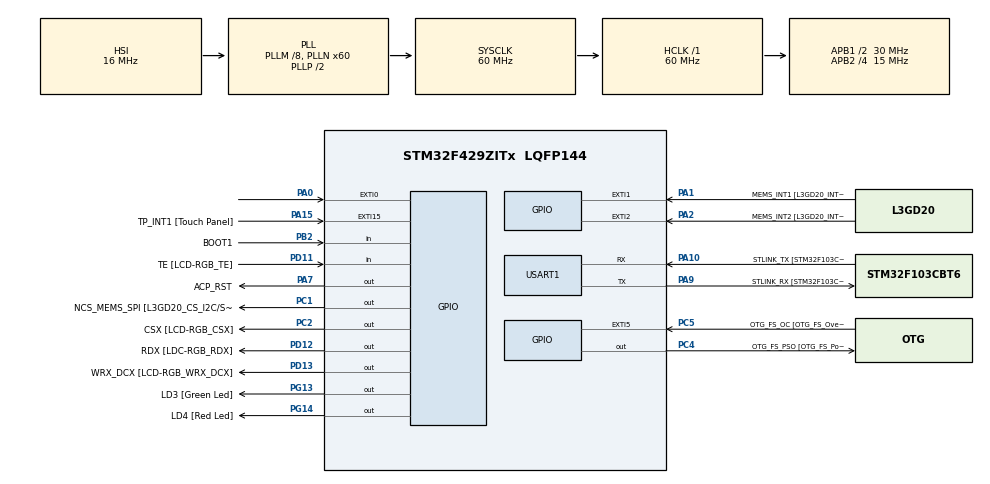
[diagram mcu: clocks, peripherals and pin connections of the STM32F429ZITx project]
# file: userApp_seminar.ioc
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Mcu.Family=STM32F4
Mcu.Name=STM32F429ZITx
Mcu.Package=LQFP144
NVIC.EXTI0_IRQn=true\:0\:0\:false\:false\:true\:true\:true
NVIC.PriorityGroup=NVIC_PRIORITYGROUP_0
PA0/WKUP.Signal=GPXTI0
PA1.GPIO_Label=MEMS_INT1 [L3GD20_INT1]
PA1.GPIO_ModeDefaultEXTI=GPIO_MODE_EVT_RISING
PA1.GPIO_PuPd=GPIO_NOPULL
PA1.Signal=GPXTI1
PA10.GPIO_Label=STLINK_TX [STM32F103CBT6_PA2]
PA10.Mode=Asynchronous
PA10.Signal=USART1_RX
PA11.GPIO_Label=R4
PA11.GPIO_Mode=GPIO_MODE_AF_PP
PA11.GPIO_PuPd=GPIO_NOPULL
PA11.GPIO_Speed=GPIO_SPEED_FREQ_LOW
PA11.Signal=LTDC_R4
PA12.GPIO_Label=R5
PA12.GPIO_Mode=GPIO_MODE_AF_PP
PA12.GPIO_PuPd=GPIO_NOPULL
PA12.GPIO_Speed=GPIO_SPEED_FREQ_LOW
PA12.Signal=LTDC_R5
PA13.GPIO_Label=SWDIO
PA13.Signal=SYS_JTMS-SWDIO
PA14.GPIO_Label=SWCLK
PA14.Signal=SYS_JTCK-SWCLK
PA15.GPIO_Label=TP_INT1 [Touch Panel]
PA15.GPIO_ModeDefaultEXTI=GPIO_MODE_EVT_RISING
PA15.GPIO_PuPd=GPIO_NOPULL
PA15.Signal=GPXTI15
PA2.GPIO_Label=MEMS_INT2 [L3GD20_INT2]
PA2.GPIO_ModeDefaultEXTI=GPIO_MODE_EVT_RISING
PA2.GPIO_PuPd=GPIO_NOPULL
PA2.Signal=GPXTI2
PA3.GPIO_Label=B5
PA3.GPIO_Mode=GPIO_MODE_AF_PP
PA3.GPIO_PuPd=GPIO_NOPULL
PA3.GPIO_Speed=GPIO_SPEED_FREQ_LOW
PA3.Signal=LTDC_B5
PA4.GPIO_Label=VSYNC
PA4.GPIO_Mode=GPIO_MODE_AF_PP
PA4.GPIO_PuPd=GPIO_NOPULL
PA4.GPIO_Speed=GPIO_SPEED_FREQ_LOW
PA4.Signal=LTDC_VSYNC
PA6.GPIO_Label=G2
PA6.GPIO_Mode=GPIO_MODE_AF_PP
PA6.GPIO_PuPd=GPIO_NOPULL
PA6.GPIO_Speed=GPIO_SPEED_FREQ_LOW
PA6.Signal=LTDC_G2
PA7.GPIO_Label=ACP_RST
PA7.GPIO_Mode=GPIO_MODE_OUTPUT_PP
PA7.GPIO_PuPd=GPIO_NOPULL
PA7.GPIO_Speed=GPIO_SPEED_FREQ_LOW
PA7.Signal=GPIO_Output
PA8.GPIO_Label=I2C3_SCL [ACP/RF_SCL]
PA8.GPIO_Mode=GPIO_MODE_AF_OD
PA8.GPIO_PuPd=GPIO_NOPULL
PA8.GPIO_Speed=GPIO_SPEED_FREQ_LOW
PA8.Signal=I2C3_SCL
PA9.GPIO_Label=STLINK_RX [STM32F103CBT6_PA3]
PA9.Mode=Asynchronous
PA9.Signal=USART1_TX
PB0.GPIO_Label=R3
PB0.GPIO_Mode=GPIO_MODE_AF_PP
PB0.GPIO_PuPd=GPIO_NOPULL
PB0.GPIO_Speed=GPIO_SPEED_FREQ_LOW
PB0.Signal=LTDC_R3
PB1.GPIO_Label=R6
PB1.GPIO_Mode=GPIO_MODE_AF_PP
PB1.GPIO_PuPd=GPIO_NOPULL
PB1.GPIO_Speed=GPIO_SPEED_FREQ_LOW
PB1.Signal=LTDC_R6
PB10.GPIO_Label=G4
PB10.GPIO_Mode=GPIO_MODE_AF_PP
PB10.GPIO_PuPd=GPIO_NOPULL
PB10.GPIO_Speed=GPIO_SPEED_FREQ_LOW
PB10.Signal=LTDC_G4
PB11.GPIO_Label=G5
PB11.GPIO_Mode=GPIO_MODE_AF_PP
PB11.GPIO_PuPd=GPIO_NOPULL
PB11.GPIO_Speed=GPIO_SPEED_FREQ_LOW
PB11.Signal=LTDC_G5
PB12.GPIO_Label=OTG_HS_ID
PB12.GPIO_Mode=GPIO_MODE_AF_PP
PB12.GPIO_PuPd=GPIO_NOPULL
PB12.GPIO_Speed=GPIO_SPEED_FREQ_LOW
PB12.Signal=USB_OTG_HS_ID
PB13.GPIO_Label=VBUS_HS
PB13.GPIO_Mode=GPIO_MODE_INPUT
PB13.GPIO_PuPd=GPIO_NOPULL
PB13.Signal=USB_OTG_HS_VBUS
PB14.GPIO_Label=OTG_HS_DM
PB14.GPIO_Mode=GPIO_MODE_AF_PP
PB14.GPIO_PuPd=GPIO_NOPULL
PB14.GPIO_Speed=GPIO_SPEED_FREQ_LOW
PB14.Signal=USB_OTG_HS_DM
PB15.GPIO_Label=OTG_HS_DP
PB15.GPIO_Mode=GPIO_MODE_AF_PP
PB15.GPIO_PuPd=GPIO_NOPULL
PB15.GPIO_Speed=GPIO_SPEED_FREQ_LOW
PB15.Signal=USB_OTG_HS_DP
PB2/BOOT1.GPIO_Label=BOOT1
PB2/BOOT1.GPIO_Mode=GPIO_MODE_INPUT
PB2/BOOT1.GPIO_PuPd=GPIO_NOPULL
PB2/BOOT1.Signal=GPIO_Input
PB5.GPIO_Label=SDCKE1
PB5.GPIO_Mode=GPIO_MODE_AF_PP
PB5.GPIO_PuPd=GPIO_NOPULL
PB5.GPIO_Speed=GPIO_SPEED_FREQ_VERY_HIGH
PB5.Signal=FMC_SDCKE1
PB6.GPIO_Label=SDNE1 [SDRAM_CS]
PB6.GPIO_Mode=GPIO_MODE_AF_PP
PB6.GPIO_PuPd=GPIO_NOPULL
PB6.GPIO_Speed=GPIO_SPEED_FREQ_VERY_HIGH
PB6.Signal=FMC_SDNE1
PB8.GPIO_Label=B6
PB8.GPIO_Mode=GPIO_MODE_AF_PP
PB8.GPIO_PuPd=GPIO_NOPULL
PB8.GPIO_Speed=GPIO_SPEED_FREQ_LOW
PB8.Signal=LTDC_B6
PB9.GPIO_Label=B7
PB9.GPIO_Mode=GPIO_MODE_AF_PP
PB9.GPIO_PuPd=GPIO_NOPULL
PB9.GPIO_Speed=GPIO_SPEED_FREQ_LOW
PB9.Signal=LTDC_B7
PC0.GPIO_Label=SDNWE
PC0.GPIO_Mode=GPIO_MODE_AF_PP
PC0.GPIO_PuPd=GPIO_NOPULL
PC0.GPIO_Speed=GPIO_SPEED_FREQ_VERY_HIGH
PC0.Signal=FMC_SDNWE
PC1.GPIO_Label=NCS_MEMS_SPI [L3GD20_CS_I2C/SPI]
PC1.GPIO_Mode=GPIO_MODE_OUTPUT_PP
PC1.GPIO_PuPd=GPIO_NOPULL
PC1.GPIO_Speed=GPIO_SPEED_FREQ_LOW
PC1.Signal=GPIO_Output
PC10.GPIO_Label=R2
PC10.GPIO_Mode=GPIO_MODE_AF_PP
PC10.GPIO_PuPd=GPIO_NOPULL
PC10.GPIO_Speed=GPIO_SPEED_FREQ_LOW
PC10.Signal=LTDC_R2
PC14/OSC32_IN.GPIO_Label=PC14-OSC32_IN
PC14/OSC32_IN.Signal=RCC_OSC32_IN
PC15/OSC32_OUT.GPIO_Label=PC15-OSC32_OUT
PC15/OSC32_OUT.Signal=RCC_OSC32_OUT
PC2.GPIO_Label=CSX [LCD-RGB_CSX]
PC2.GPIO_Mode=GPIO_MODE_OUTPUT_PP
PC2.GPIO_PuPd=GPIO_NOPULL
PC2.GPIO_Speed=GPIO_SPEED_FREQ_LOW
PC2.Signal=GPIO_Output
PC4.GPIO_Label=OTG_FS_PSO [OTG_FS_PowerSwitchOn]
PC4.GPIO_Mode=GPIO_MODE_OUTPUT_PP
PC4.GPIO_PuPd=GPIO_NOPULL
PC4.GPIO_Speed=GPIO_SPEED_FREQ_LOW
PC4.Signal=GPIO_Output
PC5.GPIO_Label=OTG_FS_OC [OTG_FS_OverCurrent]
PC5.GPIO_ModeDefaultEXTI=GPIO_MODE_EVT_RISING
PC5.Signal=GPXTI5
PC6.GPIO_Label=HSYNC
PC6.GPIO_Mode=GPIO_MODE_AF_PP
PC6.GPIO_PuPd=GPIO_NOPULL
PC6.GPIO_Speed=GPIO_SPEED_FREQ_LOW
PC6.Signal=LTDC_HSYNC
PC7.GPIO_Label=G6
PC7.GPIO_Mode=GPIO_MODE_AF_PP
PC7.GPIO_PuPd=GPIO_NOPULL
PC7.GPIO_Speed=GPIO_SPEED_FREQ_LOW
PC7.Signal=LTDC_G6
PC9.GPIO_Label=I2C3_SDA [ACP/RF_SDA]
PC9.GPIO_Mode=GPIO_MODE_AF_OD
PC9.GPIO_PuPd=GPIO_NOPULL
PC9.GPIO_Speed=GPIO_SPEED_FREQ_LOW
PC9.Signal=I2C3_SDA
PD0.GPIO_Label=D2
PD0.GPIO_Mode=GPIO_MODE_AF_PP
PD0.GPIO_PuPd=GPIO_NOPULL
PD0.GPIO_Speed=GPIO_SPEED_FREQ_VERY_HIGH
PD0.Signal=FMC_D2_DA2
PD1.GPIO_Label=D3
PD1.GPIO_Mode=GPIO_MODE_AF_PP
PD1.GPIO_PuPd=GPIO_NOPULL
PD1.GPIO_Speed=GPIO_SPEED_FREQ_VERY_HIGH
PD1.Signal=FMC_D3_DA3
PD10.GPIO_Label=D15
PD10.GPIO_Mode=GPIO_MODE_AF_PP
PD10.GPIO_PuPd=GPIO_NOPULL
PD10.GPIO_Speed=GPIO_SPEED_FREQ_VERY_HIGH
PD10.Signal=FMC_D15_DA15
PD11.GPIO_Label=TE [LCD-RGB_TE]
PD11.GPIO_Mode=GPIO_MODE_INPUT
PD11.GPIO_PuPd=GPIO_NOPULL
PD11.Signal=GPIO_Input
PD12.GPIO_Label=RDX [LDC-RGB_RDX]
PD12.GPIO_Mode=GPIO_MODE_OUTPUT_PP
PD12.GPIO_PuPd=GPIO_NOPULL
PD12.GPIO_Speed=GPIO_SPEED_FREQ_LOW
PD12.Signal=GPIO_Output
PD13.GPIO_Label=WRX_DCX [LCD-RGB_WRX_DCX]
PD13.GPIO_Mode=GPIO_MODE_OUTPUT_PP
PD13.GPIO_PuPd=GPIO_NOPULL
PD13.GPIO_Speed=GPIO_SPEED_FREQ_LOW
PD13.Signal=GPIO_Output
PD14.GPIO_Label=D0
PD14.GPIO_Mode=GPIO_MODE_AF_PP
PD14.GPIO_PuPd=GPIO_NOPULL
PD14.GPIO_Speed=GPIO_SPEED_FREQ_VERY_HIGH
PD14.Signal=FMC_D0_DA0
PD15.GPIO_Label=D1
PD15.GPIO_Mode=GPIO_MODE_AF_PP
PD15.GPIO_PuPd=GPIO_NOPULL
PD15.GPIO_Speed=GPIO_SPEED_FREQ_VERY_HIGH
PD15.Signal=FMC_D1_DA1
PD3.GPIO_Label=G7
PD3.GPIO_Mode=GPIO_MODE_AF_PP
PD3.GPIO_PuPd=GPIO_NOPULL
PD3.GPIO_Speed=GPIO_SPEED_FREQ_LOW
PD3.Signal=LTDC_G7
PD6.GPIO_Label=B2
PD6.GPIO_Mode=GPIO_MODE_AF_PP
PD6.GPIO_PuPd=GPIO_NOPULL
PD6.GPIO_Speed=GPIO_SPEED_FREQ_LOW
PD6.Signal=LTDC_B2
PD8.GPIO_Label=D13
PD8.GPIO_Mode=GPIO_MODE_AF_PP
PD8.GPIO_PuPd=GPIO_NOPULL
PD8.GPIO_Speed=GPIO_SPEED_FREQ_VERY_HIGH
PD8.Signal=FMC_D13_DA13
PD9.GPIO_Label=D14
PD9.GPIO_Mode=GPIO_MODE_AF_PP
PD9.GPIO_PuPd=GPIO_NOPULL
PD9.GPIO_Speed=GPIO_SPEED_FREQ_VERY_HIGH
PD9.Signal=FMC_D14_DA14
PE0.GPIO_Label=NBL0 [SDRAM_LDQM]
PE0.GPIO_Mode=GPIO_MODE_AF_PP
PE0.GPIO_PuPd=GPIO_NOPULL
PE0.GPIO_Speed=GPIO_SPEED_FREQ_VERY_HIGH
PE0.Signal=FMC_NBL0
PE1.GPIO_Label=NBL1 [SDRAM_UDQM]
PE1.GPIO_Mode=GPIO_MODE_AF_PP
PE1.GPIO_PuPd=GPIO_NOPULL
PE1.GPIO_Speed=GPIO_SPEED_FREQ_VERY_HIGH
PE1.Signal=FMC_NBL1
PE10.GPIO_Label=D7
PE10.GPIO_Mode=GPIO_MODE_AF_PP
PE10.GPIO_PuPd=GPIO_NOPULL
PE10.GPIO_Speed=GPIO_SPEED_FREQ_VERY_HIGH
PE10.Signal=FMC_D7_DA7
PE11.GPIO_Label=D8
PE11.GPIO_Mode=GPIO_MODE_AF_PP
PE11.GPIO_PuPd=GPIO_NOPULL
PE11.GPIO_Speed=GPIO_SPEED_FREQ_VERY_HIGH
PE11.Signal=FMC_D8_DA8
PE12.GPIO_Label=D9
PE12.GPIO_Mode=GPIO_MODE_AF_PP
PE12.GPIO_PuPd=GPIO_NOPULL
PE12.GPIO_Speed=GPIO_SPEED_FREQ_VERY_HIGH
PE12.Signal=FMC_D9_DA9
PE13.GPIO_Label=D10
PE13.GPIO_Mode=GPIO_MODE_AF_PP
PE13.GPIO_PuPd=GPIO_NOPULL
PE13.GPIO_Speed=GPIO_SPEED_FREQ_VERY_HIGH
PE13.Signal=FMC_D10_DA10
PE14.GPIO_Label=D11
PE14.GPIO_Mode=GPIO_MODE_AF_PP
PE14.GPIO_PuPd=GPIO_NOPULL
PE14.GPIO_Speed=GPIO_SPEED_FREQ_VERY_HIGH
PE14.Signal=FMC_D11_DA11
PE15.GPIO_Label=D12
PE15.GPIO_Mode=GPIO_MODE_AF_PP
PE15.GPIO_PuPd=GPIO_NOPULL
PE15.GPIO_Speed=GPIO_SPEED_FREQ_VERY_HIGH
PE15.Signal=FMC_D12_DA12
PE7.GPIO_Label=D4
PE7.GPIO_Mode=GPIO_MODE_AF_PP
PE7.GPIO_PuPd=GPIO_NOPULL
PE7.GPIO_Speed=GPIO_SPEED_FREQ_VERY_HIGH
PE7.Signal=FMC_D4_DA4
PE8.GPIO_Label=D5
PE8.GPIO_Mode=GPIO_MODE_AF_PP
PE8.GPIO_PuPd=GPIO_NOPULL
PE8.GPIO_Speed=GPIO_SPEED_FREQ_VERY_HIGH
PE8.Signal=FMC_D5_DA5
PE9.GPIO_Label=D6
PE9.GPIO_Mode=GPIO_MODE_AF_PP
PE9.GPIO_PuPd=GPIO_NOPULL
PE9.GPIO_Speed=GPIO_SPEED_FREQ_VERY_HIGH
PE9.Signal=FMC_D6_DA6
PF0.GPIO_Label=A0
PF0.GPIO_Mode=GPIO_MODE_AF_PP
PF0.GPIO_PuPd=GPIO_NOPULL
PF0.GPIO_Speed=GPIO_SPEED_FREQ_VERY_HIGH
PF0.Signal=FMC_A0
PF1.GPIO_Label=A1
PF1.GPIO_Mode=GPIO_MODE_AF_PP
PF1.GPIO_PuPd=GPIO_NOPULL
PF1.GPIO_Speed=GPIO_SPEED_FREQ_VERY_HIGH
PF1.Signal=FMC_A1
PF10.GPIO_Label=ENABLE [LCD-RGB_ENABLE]
PF10.GPIO_Mode=GPIO_MODE_AF_PP
PF10.GPIO_PuPd=GPIO_NOPULL
PF10.GPIO_Speed=GPIO_SPEED_FREQ_LOW
PF10.Signal=LTDC_DE
PF11.GPIO_Label=SDNRAS
PF11.GPIO_Mode=GPIO_MODE_AF_PP
PF11.GPIO_PuPd=GPIO_NOPULL
PF11.GPIO_Speed=GPIO_SPEED_FREQ_VERY_HIGH
PF11.Signal=FMC_SDNRAS
PF12.GPIO_Label=A6
PF12.GPIO_Mode=GPIO_MODE_AF_PP
PF12.GPIO_PuPd=GPIO_NOPULL
PF12.GPIO_Speed=GPIO_SPEED_FREQ_VERY_HIGH
PF12.Signal=FMC_A6
PF13.GPIO_Label=A7
PF13.GPIO_Mode=GPIO_MODE_AF_PP
PF13.GPIO_PuPd=GPIO_NOPULL
PF13.GPIO_Speed=GPIO_SPEED_FREQ_VERY_HIGH
PF13.Signal=FMC_A7
PF14.GPIO_Label=A8
PF14.GPIO_Mode=GPIO_MODE_AF_PP
PF14.GPIO_PuPd=GPIO_NOPULL
PF14.GPIO_Speed=GPIO_SPEED_FREQ_VERY_HIGH
PF14.Signal=FMC_A8
PF15.GPIO_Label=A9
PF15.GPIO_Mode=GPIO_MODE_AF_PP
PF15.GPIO_PuPd=GPIO_NOPULL
PF15.GPIO_Speed=GPIO_SPEED_FREQ_VERY_HIGH
PF15.Signal=FMC_A9
PF2.GPIO_Label=A2
PF2.GPIO_Mode=GPIO_MODE_AF_PP
PF2.GPIO_PuPd=GPIO_NOPULL
PF2.GPIO_Speed=GPIO_SPEED_FREQ_VERY_HIGH
PF2.Signal=FMC_A2
PF3.GPIO_Label=A3
PF3.GPIO_Mode=GPIO_MODE_AF_PP
PF3.GPIO_PuPd=GPIO_NOPULL
PF3.GPIO_Speed=GPIO_SPEED_FREQ_VERY_HIGH
PF3.Signal=FMC_A3
PF4.GPIO_Label=A4
PF4.GPIO_Mode=GPIO_MODE_AF_PP
PF4.GPIO_PuPd=GPIO_NOPULL
PF4.GPIO_Speed=GPIO_SPEED_FREQ_VERY_HIGH
PF4.Signal=FMC_A4
PF5.GPIO_Label=A5
PF5.GPIO_Mode=GPIO_MODE_AF_PP
PF5.GPIO_PuPd=GPIO_NOPULL
PF5.GPIO_Speed=GPIO_SPEED_FREQ_VERY_HIGH
PF5.Signal=FMC_A5
PF7.GPIO_Label=SPI5_SCK [L3GD20_SCL/SPC]
PF7.GPIO_Mode=GPIO_MODE_AF_PP
PF7.GPIO_PuPd=GPIO_NOPULL
PF7.GPIO_Speed=GPIO_SPEED_FREQ_LOW
PF7.Signal=SPI5_SCK
PF8.GPIO_Label=SPI5_MISO [L3GD20_SDO]
PF8.GPIO_Mode=GPIO_MODE_AF_PP
PF8.GPIO_PuPd=GPIO_NOPULL
PF8.GPIO_Speed=GPIO_SPEED_FREQ_LOW
PF8.Signal=SPI5_MISO
PF9.GPIO_Label=SPI5_MOSI [L3GD20_SDA/SDI/SDO]
PF9.GPIO_Mode=GPIO_MODE_AF_PP
PF9.GPIO_PuPd=GPIO_NOPULL
PF9.GPIO_Speed=GPIO_SPEED_FREQ_LOW
PF9.Signal=SPI5_MOSI
PG0.GPIO_Label=A10
PG0.GPIO_Mode=GPIO_MODE_AF_PP
PG0.GPIO_PuPd=GPIO_NOPULL
PG0.GPIO_Speed=GPIO_SPEED_FREQ_VERY_HIGH
PG0.Signal=FMC_A10
PG1.GPIO_Label=A11
PG1.GPIO_Mode=GPIO_MODE_AF_PP
PG1.GPIO_PuPd=GPIO_NOPULL
PG1.GPIO_Speed=GPIO_SPEED_FREQ_VERY_HIGH
PG1.Signal=FMC_A11
PG10.GPIO_Label=G3
PG10.GPIO_Mode=GPIO_MODE_AF_PP
PG10.GPIO_PuPd=GPIO_NOPULL
PG10.GPIO_Speed=GPIO_SPEED_FREQ_LOW
PG10.Signal=LTDC_G3
PG11.GPIO_Label=B3
PG11.GPIO_Mode=GPIO_MODE_AF_PP
PG11.GPIO_PuPd=GPIO_NOPULL
PG11.GPIO_Speed=GPIO_SPEED_FREQ_LOW
PG11.Signal=LTDC_B3
PG12.GPIO_Label=B4
PG12.GPIO_Mode=GPIO_MODE_AF_PP
PG12.GPIO_PuPd=GPIO_NOPULL
PG12.GPIO_Speed=GPIO_SPEED_FREQ_LOW
PG12.Signal=LTDC_B4
PG13.GPIO_Label=LD3 [Green Led]
PG13.GPIO_Mode=GPIO_MODE_OUTPUT_PP
PG13.GPIO_PuPd=GPIO_NOPULL
PG13.GPIO_Speed=GPIO_SPEED_FREQ_LOW
PG13.Signal=GPIO_Output
PG14.GPIO_Label=LD4 [Red Led]
PG14.GPIO_Mode=GPIO_MODE_OUTPUT_PP
PG14.GPIO_PuPd=GPIO_NOPULL
PG14.GPIO_Speed=GPIO_SPEED_FREQ_LOW
PG14.Signal=GPIO_Output
PG15.GPIO_Label=SDNCAS
PG15.GPIO_Mode=GPIO_MODE_AF_PP
PG15.GPIO_PuPd=GPIO_NOPULL
PG15.GPIO_Speed=GPIO_SPEED_FREQ_VERY_HIGH
PG15.Signal=FMC_SDNCAS
PG4.GPIO_Label=BA0
PG4.GPIO_Mode=GPIO_MODE_AF_PP
PG4.GPIO_PuPd=GPIO_NOPULL
PG4.GPIO_Speed=GPIO_SPEED_FREQ_VERY_HIGH
PG4.Signal=FMC_A14_BA0
PG5.GPIO_Label=BA1
PG5.GPIO_Mode=GPIO_MODE_AF_PP
PG5.GPIO_PuPd=GPIO_NOPULL
PG5.GPIO_Speed=GPIO_SPEED_FREQ_VERY_HIGH
PG5.Signal=FMC_A15_BA1
PG6.GPIO_Label=R7
PG6.GPIO_Mode=GPIO_MODE_AF_PP
PG6.GPIO_PuPd=GPIO_NOPULL
PG6.GPIO_Speed=GPIO_SPEED_FREQ_LOW
PG6.Signal=LTDC_R7
PG7.GPIO_Label=DOTCLK [LCT-RGB_DOTCLK]
PG7.GPIO_Mode=GPIO_MODE_AF_PP
PG7.GPIO_PuPd=GPIO_NOPULL
PG7.GPIO_Speed=GPIO_SPEED_FREQ_LOW
PG7.Signal=LTDC_CLK
PG8.GPIO_Label=SDCLK
PG8.GPIO_Mode=GPIO_MODE_AF_PP
PG8.GPIO_PuPd=GPIO_NOPULL
PG8.GPIO_Speed=GPIO_SPEED_FREQ_VERY_HIGH
PG8.Signal=FMC_SDCLK
PH0/OSC_IN.GPIO_Label=PH0-OSC_IN
PH0/OSC_IN.Signal=RCC_OSC_IN
PH1/OSC_OUT.GPIO_Label=PH1-OSC_OUT
PH1/OSC_OUT.Signal=RCC_OSC_OUT
ProjectManager.HeapSize=0x200
ProjectManager.StackSize=0x400
ProjectManager.TargetToolchain=MDK-ARM V5.27
RCC.48MHZClocksFreq_Value=17142857.14285714
RCC.AHBFreq_Value=60000000
RCC.APB1CLKDivider=RCC_HCLK_DIV2
RCC.APB1Freq_Value=30000000
RCC.APB1TimFreq_Value=60000000
RCC.APB2CLKDivider=RCC_HCLK_DIV4
RCC.APB2Freq_Value=15000000
RCC.APB2TimFreq_Value=30000000
RCC.CortexFreq_Value=60000000
RCC.HCLKFreq_Value=60000000
RCC.HSE_VALUE=8000000
RCC.HSI_VALUE=16000000
RCC.LSE_VALUE=32768
RCC.PLLM=8
RCC.PLLN=60
RCC.PLLQ=7
RCC.SYSCLKFreq_VALUE=60000000
RCC.SYSCLKSource=RCC_SYSCLKSOURCE_PLLCLK
RCC.VCOOutputFreq_Value=120000000
SH.FMC_A0.0=FMC_A0
SH.FMC_A1.0=FMC_A1
SH.FMC_A10.0=FMC_A10
SH.FMC_A11.0=FMC_A11
SH.FMC_A14_BA0.0=FMC_BA0
SH.FMC_A15_BA1.0=FMC_BA1
SH.FMC_A2.0=FMC_A2
SH.FMC_A3.0=FMC_A3
SH.FMC_A4.0=FMC_A4
SH.FMC_A5.0=FMC_A5
SH.FMC_A6.0=FMC_A6
SH.FMC_A7.0=FMC_A7
SH.FMC_A8.0=FMC_A8
SH.FMC_A9.0=FMC_A9
SH.FMC_D0_DA0.0=FMC_D0
SH.FMC_D10_DA10.0=FMC_D10
SH.FMC_D11_DA11.0=FMC_D11
SH.FMC_D12_DA12.0=FMC_D12
SH.FMC_D13_DA13.0=FMC_D13
SH.FMC_D14_DA14.0=FMC_D14
SH.FMC_D15_DA15.0=FMC_D15
SH.FMC_D1_DA1.0=FMC_D1
SH.FMC_D2_DA2.0=FMC_D2
SH.FMC_D3_DA3.0=FMC_D3
SH.FMC_D4_DA4.0=FMC_D4
SH.FMC_D5_DA5.0=FMC_D5
SH.FMC_D6_DA6.0=FMC_D6
SH.FMC_D7_DA7.0=FMC_D7
SH.FMC_D8_DA8.0=FMC_D8
SH.FMC_D9_DA9.0=FMC_D9
SH.FMC_NBL0.0=FMC_NBL0
SH.FMC_NBL1.0=FMC_NBL1
SH.FMC_SDCLK.0=FMC_SDCLK
SH.FMC_SDNCAS.0=FMC_SDNCAS
SH.FMC_SDNRAS.0=FMC_SDNRAS
SH.FMC_SDNWE.0=FMC_SDNWE
USART1.VirtualMode=VM_ASYNC
board=STM32F429I-DISC1

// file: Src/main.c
/* USER CODE BEGIN Header */
/**
  ******************************************************************************
  * @file           : main.c
  * @brief          : Main program body
  ******************************************************************************
  * @attention
  *
  * <h2><center>&copy; Copyright (c) 2020 STMicroelectronics.
  * All rights reserved.</center></h2>
  *
  * This software component is licensed by ST under BSD 3-Clause license,
  * the "License"; You may not use this file except in compliance with the
  * License. You may obtain a copy of the License at:
  *                        opensource.org/licenses/BSD-3-Clause
  *
  ******************************************************************************
  */
/* USER CODE END Header */

#include "main.h"

/* USER CODE BEGIN Includes */
#include <string.h>
/* USER CODE END Includes */

UART_HandleTypeDef huart1;

/* USER CODE BEGIN PV */
static volatile int flag = 0, time_flag = 0;
static int user_btn_tick = 0;

void HAL_GPIO_EXTI_Callback(uint16_t GPIO_Pin)
{
  HAL_GPIO_WritePin(GPIOG, GPIO_PIN_13 | GPIO_PIN_14, flag);
	flag = !flag;
	if(time_flag == 0) {
		time_flag = 1;
	}
}

#define C_UART huart1
char msg_c[] = "Hello User App\r\n";
/* USER CODE END PV */

void SystemClock_Config(void);
static void MX_GPIO_Init(void);
static void MX_USART1_UART_Init(void);

/* USER CODE BEGIN 0 */
void jump_to_bootloader(void);
/* USER CODE END 0 */

int main(void)
{

  /* MCU Configuration--------------------------------------------------------*/

  /* Reset of all peripherals, Initializes the Flash interface and the Systick. */
  HAL_Init();

  /* Configure the system clock */
  SystemClock_Config();

  /* Initialize all configured peripherals */
  MX_GPIO_Init();
  MX_USART1_UART_Init();

  /* Infinite loop */
  /* USER CODE BEGIN WHILE */
	uint32_t current_tick = HAL_GetTick();
	uint32_t print_msg_tick = 0;
  while (1)
  {
    /* USER CODE END WHILE */

    /* USER CODE BEGIN 3 */
		#if 0
			uint32_t current_tick = HAL_GetTick();
			while(HAL_GetTick() <= current_tick + 500);
			HAL_UART_Transmit(&C_UART, (uint8_t*)msg_c, strlen(msg_c), HAL_MAX_DELAY);
		#endif

		while(HAL_GetTick() <= current_tick + 1);
		current_tick += 1;

		if (time_flag) {
			user_btn_tick++;
			if(user_btn_tick >= 5000) {
				jump_to_bootloader();
			}
		}
		else {
			user_btn_tick = 0;
			print_msg_tick++;
			if(print_msg_tick >= 1000) {
				print_msg_tick = 0;
				HAL_UART_Transmit(&C_UART, (uint8_t*)msg_c, strlen(msg_c), HAL_MAX_DELAY);
			}
		}

  }
  /* USER CODE END 3 */
}

void SystemClock_Config(void)
{
  RCC_OscInitTypeDef RCC_OscInitStruct = {0};
  RCC_ClkInitTypeDef RCC_ClkInitStruct = {0};

  /** Configure the main internal regulator output voltage
  */
  __HAL_RCC_PWR_CLK_ENABLE();
  __HAL_PWR_VOLTAGESCALING_CONFIG(PWR_REGULATOR_VOLTAGE_SCALE3);
  /** Initializes the CPU, AHB and APB busses clocks
  */
  RCC_OscInitStruct.OscillatorType = RCC_OSCILLATORTYPE_HSI;
  RCC_OscInitStruct.HSIState = RCC_HSI_ON;
  RCC_OscInitStruct.HSICalibrationValue = RCC_HSICALIBRATION_DEFAULT;
  RCC_OscInitStruct.PLL.PLLState = RCC_PLL_ON;
  RCC_OscInitStruct.PLL.PLLSource = RCC_PLLSOURCE_HSI;
  RCC_OscInitStruct.PLL.PLLM = 8;
  RCC_OscInitStruct.PLL.PLLN = 60;
  RCC_OscInitStruct.PLL.PLLP = RCC_PLLP_DIV2;
  RCC_OscInitStruct.PLL.PLLQ = 7;
  if (HAL_RCC_OscConfig(&RCC_OscInitStruct) != HAL_OK)
  {
    Error_Handler();
  }
  /** Initializes the CPU, AHB and APB busses clocks
  */
  RCC_ClkInitStruct.ClockType = RCC_CLOCKTYPE_HCLK|RCC_CLOCKTYPE_SYSCLK
                              |RCC_CLOCKTYPE_PCLK1|RCC_CLOCKTYPE_PCLK2;
  RCC_ClkInitStruct.SYSCLKSource = RCC_SYSCLKSOURCE_PLLCLK;
  RCC_ClkInitStruct.AHBCLKDivider = RCC_SYSCLK_DIV1;
  RCC_ClkInitStruct.APB1CLKDivider = RCC_HCLK_DIV2;
  RCC_ClkInitStruct.APB2CLKDivider = RCC_HCLK_DIV4;

  if (HAL_RCC_ClockConfig(&RCC_ClkInitStruct, FLASH_LATENCY_1) != HAL_OK)
  {
    Error_Handler();
  }
}

static void MX_USART1_UART_Init(void)
{

  huart1.Instance = USART1;
  huart1.Init.BaudRate = 115200;
  huart1.Init.WordLength = UART_WORDLENGTH_8B;
  huart1.Init.StopBits = UART_STOPBITS_1;
  huart1.Init.Parity = UART_PARITY_NONE;
  huart1.Init.Mode = UART_MODE_TX_RX;
  huart1.Init.HwFlowCtl = UART_HWCONTROL_NONE;
  huart1.Init.OverSampling = UART_OVERSAMPLING_16;
  if (HAL_UART_Init(&huart1) != HAL_OK)
  {
    Error_Handler();
  }

}

static void MX_GPIO_Init(void)
{
  GPIO_InitTypeDef GPIO_InitStruct = {0};

  /* GPIO Ports Clock Enable */
  __HAL_RCC_GPIOC_CLK_ENABLE();
  __HAL_RCC_GPIOF_CLK_ENABLE();
  __HAL_RCC_GPIOH_CLK_ENABLE();
  __HAL_RCC_GPIOA_CLK_ENABLE();
  __HAL_RCC_GPIOB_CLK_ENABLE();
  __HAL_RCC_GPIOG_CLK_ENABLE();
  __HAL_RCC_GPIOE_CLK_ENABLE();
  __HAL_RCC_GPIOD_CLK_ENABLE();

  /*Configure GPIO pin Output Level */
  HAL_GPIO_WritePin(GPIOC, NCS_MEMS_SPI_Pin|CSX_Pin|OTG_FS_PSO_Pin, GPIO_PIN_RESET);

  /*Configure GPIO pin Output Level */
  HAL_GPIO_WritePin(ACP_RST_GPIO_Port, ACP_RST_Pin, GPIO_PIN_RESET);

  /*Configure GPIO pin Output Level */
  HAL_GPIO_WritePin(GPIOD, RDX_Pin|WRX_DCX_Pin, GPIO_PIN_RESET);

  /*Configure GPIO pin Output Level */
  HAL_GPIO_WritePin(GPIOG, LD3_Pin|LD4_Pin, GPIO_PIN_RESET);

  /*Configure GPIO pins : A0_Pin A1_Pin A2_Pin A3_Pin
                           A4_Pin A5_Pin SDNRAS_Pin A6_Pin
                           A7_Pin A8_Pin A9_Pin */
  GPIO_InitStruct.Pin = A0_Pin|A1_Pin|A2_Pin|A3_Pin
                          |A4_Pin|A5_Pin|SDNRAS_Pin|A6_Pin
                          |A7_Pin|A8_Pin|A9_Pin;
  GPIO_InitStruct.Mode = GPIO_MODE_AF_PP;
  GPIO_InitStruct.Pull = GPIO_NOPULL;
  GPIO_InitStruct.Speed = GPIO_SPEED_FREQ_VERY_HIGH;
  GPIO_InitStruct.Alternate = GPIO_AF12_FMC;
  HAL_GPIO_Init(GPIOF, &GPIO_InitStruct);

  /*Configure GPIO pins : SPI5_SCK_Pin SPI5_MISO_Pin SPI5_MOSI_Pin */
  GPIO_InitStruct.Pin = SPI5_SCK_Pin|SPI5_MISO_Pin|SPI5_MOSI_Pin;
  GPIO_InitStruct.Mode = GPIO_MODE_AF_PP;
  GPIO_InitStruct.Pull = GPIO_NOPULL;
  GPIO_InitStruct.Speed = GPIO_SPEED_FREQ_LOW;
  GPIO_InitStruct.Alternate = GPIO_AF5_SPI5;
  HAL_GPIO_Init(GPIOF, &GPIO_InitStruct);

  /*Configure GPIO pin : ENABLE_Pin */
  GPIO_InitStruct.Pin = ENABLE_Pin;
  GPIO_InitStruct.Mode = GPIO_MODE_AF_PP;
  GPIO_InitStruct.Pull = GPIO_NOPULL;
  GPIO_InitStruct.Speed = GPIO_SPEED_FREQ_LOW;
  GPIO_InitStruct.Alternate = GPIO_AF14_LTDC;
  HAL_GPIO_Init(ENABLE_GPIO_Port, &GPIO_InitStruct);

  /*Configure GPIO pin : SDNWE_Pin */
  GPIO_InitStruct.Pin = SDNWE_Pin;
  GPIO_InitStruct.Mode = GPIO_MODE_AF_PP;
  GPIO_InitStruct.Pull = GPIO_NOPULL;
  GPIO_InitStruct.Speed = GPIO_SPEED_FREQ_VERY_HIGH;
  GPIO_InitStruct.Alternate = GPIO_AF12_FMC;
  HAL_GPIO_Init(SDNWE_GPIO_Port, &GPIO_InitStruct);

  /*Configure GPIO pins : NCS_MEMS_SPI_Pin CSX_Pin OTG_FS_PSO_Pin */
  GPIO_InitStruct.Pin = NCS_MEMS_SPI_Pin|CSX_Pin|OTG_FS_PSO_Pin;
  GPIO_InitStruct.Mode = GPIO_MODE_OUTPUT_PP;
  GPIO_InitStruct.Pull = GPIO_NOPULL;
  GPIO_InitStruct.Speed = GPIO_SPEED_FREQ_LOW;
  HAL_GPIO_Init(GPIOC, &GPIO_InitStruct);

  /*Configure GPIO pin : PA0 */
  GPIO_InitStruct.Pin = GPIO_PIN_0;
  GPIO_InitStruct.Mode = GPIO_MODE_IT_RISING;
  GPIO_InitStruct.Pull = GPIO_NOPULL;
  HAL_GPIO_Init(GPIOA, &GPIO_InitStruct);

  /*Configure GPIO pins : MEMS_INT1_Pin MEMS_INT2_Pin TP_INT1_Pin */
  GPIO_InitStruct.Pin = MEMS_INT1_Pin|MEMS_INT2_Pin|TP_INT1_Pin;
  GPIO_InitStruct.Mode = GPIO_MODE_EVT_RISING;
  GPIO_InitStruct.Pull = GPIO_NOPULL;
  HAL_GPIO_Init(GPIOA, &GPIO_InitStruct);

  /*Configure GPIO pins : B5_Pin VSYNC_Pin G2_Pin R4_Pin
                           R5_Pin */
  GPIO_InitStruct.Pin = B5_Pin|VSYNC_Pin|G2_Pin|R4_Pin
                          |R5_Pin;
  GPIO_InitStruct.Mode = GPIO_MODE_AF_PP;
  GPIO_InitStruct.Pull = GPIO_NOPULL;
  GPIO_InitStruct.Speed = GPIO_SPEED_FREQ_LOW;
  GPIO_InitStruct.Alternate = GPIO_AF14_LTDC;
  HAL_GPIO_Init(GPIOA, &GPIO_InitStruct);

  /*Configure GPIO pin : ACP_RST_Pin */
  GPIO_InitStruct.Pin = ACP_RST_Pin;
  GPIO_InitStruct.Mode = GPIO_MODE_OUTPUT_PP;
  GPIO_InitStruct.Pull = GPIO_NOPULL;
  GPIO_InitStruct.Speed = GPIO_SPEED_FREQ_LOW;
  HAL_GPIO_Init(ACP_RST_GPIO_Port, &GPIO_InitStruct);

  /*Configure GPIO pin : OTG_FS_OC_Pin */
  GPIO_InitStruct.Pin = OTG_FS_OC_Pin;
  GPIO_InitStruct.Mode = GPIO_MODE_EVT_RISING;
  GPIO_InitStruct.Pull = GPIO_NOPULL;
  HAL_GPIO_Init(OTG_FS_OC_GPIO_Port, &GPIO_InitStruct);

  /*Configure GPIO pins : R3_Pin R6_Pin */
  GPIO_InitStruct.Pin = R3_Pin|R6_Pin;
  GPIO_InitStruct.Mode = GPIO_MODE_AF_PP;
  GPIO_InitStruct.Pull = GPIO_NOPULL;
  GPIO_InitStruct.Speed = GPIO_SPEED_FREQ_LOW;
  GPIO_InitStruct.Alternate = GPIO_AF9_LTDC;
  HAL_GPIO_Init(GPIOB, &GPIO_InitStruct);

  /*Configure GPIO pin : BOOT1_Pin */
  GPIO_InitStruct.Pin = BOOT1_Pin;
  GPIO_InitStruct.Mode = GPIO_MODE_INPUT;
  GPIO_InitStruct.Pull = GPIO_NOPULL;
  HAL_GPIO_Init(BOOT1_GPIO_Port, &GPIO_InitStruct);

  /*Configure GPIO pins : A10_Pin A11_Pin BA0_Pin BA1_Pin
                           SDCLK_Pin SDNCAS_Pin */
  GPIO_InitStruct.Pin = A10_Pin|A11_Pin|BA0_Pin|BA1_Pin
                          |SDCLK_Pin|SDNCAS_Pin;
  GPIO_InitStruct.Mode = GPIO_MODE_AF_PP;
  GPIO_InitStruct.Pull = GPIO_NOPULL;
  GPIO_InitStruct.Speed = GPIO_SPEED_FREQ_VERY_HIGH;
  GPIO_InitStruct.Alternate = GPIO_AF12_FMC;
  HAL_GPIO_Init(GPIOG, &GPIO_InitStruct);

  /*Configure GPIO pins : D4_Pin D5_Pin D6_Pin D7_Pin
                           D8_Pin D9_Pin D10_Pin D11_Pin
                           D12_Pin NBL0_Pin NBL1_Pin */
  GPIO_InitStruct.Pin = D4_Pin|D5_Pin|D6_Pin|D7_Pin
                          |D8_Pin|D9_Pin|D10_Pin|D11_Pin
                          |D12_Pin|NBL0_Pin|NBL1_Pin;
  GPIO_InitStruct.Mode = GPIO_MODE_AF_PP;
  GPIO_InitStruct.Pull = GPIO_NOPULL;
  GPIO_InitStruct.Speed = GPIO_SPEED_FREQ_VERY_HIGH;
  GPIO_InitStruct.Alternate = GPIO_AF12_FMC;
  HAL_GPIO_Init(GPIOE, &GPIO_InitStruct);

  /*Configure GPIO pins : G4_Pin G5_Pin B6_Pin B7_Pin */
  GPIO_InitStruct.Pin = G4_Pin|G5_Pin|B6_Pin|B7_Pin;
  GPIO_InitStruct.Mode = GPIO_MODE_AF_PP;
  GPIO_InitStruct.Pull = GPIO_NOPULL;
  GPIO_InitStruct.Speed = GPIO_SPEED_FREQ_LOW;
  GPIO_InitStruct.Alternate = GPIO_AF14_LTDC;
  HAL_GPIO_Init(GPIOB, &GPIO_InitStruct);

  /*Configure GPIO pins : OTG_HS_ID_Pin OTG_HS_DM_Pin OTG_HS_DP_Pin */
  GPIO_InitStruct.Pin = OTG_HS_ID_Pin|OTG_HS_DM_Pin|OTG_HS_DP_Pin;
  GPIO_InitStruct.Mode = GPIO_MODE_AF_PP;
  GPIO_InitStruct.Pull = GPIO_NOPULL;
  GPIO_InitStruct.Speed = GPIO_SPEED_FREQ_LOW;
  GPIO_InitStruct.Alternate = GPIO_AF12_OTG_HS_FS;
  HAL_GPIO_Init(GPIOB, &GPIO_InitStruct);

  /*Configure GPIO pin : VBUS_HS_Pin */
  GPIO_InitStruct.Pin = VBUS_HS_Pin;
  GPIO_InitStruct.Mode = GPIO_MODE_INPUT;
  GPIO_InitStruct.Pull = GPIO_NOPULL;
  HAL_GPIO_Init(VBUS_HS_GPIO_Port, &GPIO_InitStruct);

  /*Configure GPIO pins : D13_Pin D14_Pin D15_Pin D0_Pin
                           D1_Pin D2_Pin D3_Pin */
  GPIO_InitStruct.Pin = D13_Pin|D14_Pin|D15_Pin|D0_Pin
                          |D1_Pin|D2_Pin|D3_Pin;
  GPIO_InitStruct.Mode = GPIO_MODE_AF_PP;
  GPIO_InitStruct.Pull = GPIO_NOPULL;
  GPIO_InitStruct.Speed = GPIO_SPEED_FREQ_VERY_HIGH;
  GPIO_InitStruct.Alternate = GPIO_AF12_FMC;
  HAL_GPIO_Init(GPIOD, &GPIO_InitStruct);

  /*Configure GPIO pin : TE_Pin */
  GPIO_InitStruct.Pin = TE_Pin;
  GPIO_InitStruct.Mode = GPIO_MODE_INPUT;
  GPIO_InitStruct.Pull = GPIO_NOPULL;
  HAL_GPIO_Init(TE_GPIO_Port, &GPIO_InitStruct);

  /*Configure GPIO pins : RDX_Pin WRX_DCX_Pin */
  GPIO_InitStruct.Pin = RDX_Pin|WRX_DCX_Pin;
  GPIO_InitStruct.Mode = GPIO_MODE_OUTPUT_PP;
  GPIO_InitStruct.Pull = GPIO_NOPULL;
  GPIO_InitStruct.Speed = GPIO_SPEED_FREQ_LOW;
  HAL_GPIO_Init(GPIOD, &GPIO_InitStruct);

  /*Configure GPIO pins : R7_Pin DOTCLK_Pin B3_Pin */
  GPIO_InitStruct.Pin = R7_Pin|DOTCLK_Pin|B3_Pin;
  GPIO_InitStruct.Mode = GPIO_MODE_AF_PP;
  GPIO_InitStruct.Pull = GPIO_NOPULL;
  GPIO_InitStruct.Speed = GPIO_SPEED_FREQ_LOW;
  GPIO_InitStruct.Alternate = GPIO_AF14_LTDC;
  HAL_GPIO_Init(GPIOG, &GPIO_InitStruct);

  /*Configure GPIO pins : HSYNC_Pin G6_Pin R2_Pin */
  GPIO_InitStruct.Pin = HSYNC_Pin|G6_Pin|R2_Pin;
  GPIO_InitStruct.Mode = GPIO_MODE_AF_PP;
  GPIO_InitStruct.Pull = GPIO_NOPULL;
  GPIO_InitStruct.Speed = GPIO_SPEED_FREQ_LOW;
  GPIO_InitStruct.Alternate = GPIO_AF14_LTDC;
  HAL_GPIO_Init(GPIOC, &GPIO_InitStruct);

  /*Configure GPIO pin : I2C3_SDA_Pin */
  GPIO_InitStruct.Pin = I2C3_SDA_Pin;
  GPIO_InitStruct.Mode = GPIO_MODE_AF_OD;
  GPIO_InitStruct.Pull = GPIO_PULLUP;
  GPIO_InitStruct.Speed = GPIO_SPEED_FREQ_LOW;
  GPIO_InitStruct.Alternate = GPIO_AF4_I2C3;
  HAL_GPIO_Init(I2C3_SDA_GPIO_Port, &GPIO_InitStruct);

  /*Configure GPIO pin : I2C3_SCL_Pin */
  GPIO_InitStruct.Pin = I2C3_SCL_Pin;
  GPIO_InitStruct.Mode = GPIO_MODE_AF_OD;
  GPIO_InitStruct.Pull = GPIO_PULLUP;
  GPIO_InitStruct.Speed = GPIO_SPEED_FREQ_LOW;
  GPIO_InitStruct.Alternate = GPIO_AF4_I2C3;
  HAL_GPIO_Init(I2C3_SCL_GPIO_Port, &GPIO_InitStruct);

  /*Configure GPIO pins : G7_Pin B2_Pin */
  GPIO_InitStruct.Pin = G7_Pin|B2_Pin;
  GPIO_InitStruct.Mode = GPIO_MODE_AF_PP;
  GPIO_InitStruct.Pull = GPIO_NOPULL;
  GPIO_InitStruct.Speed = GPIO_SPEED_FREQ_LOW;
  GPIO_InitStruct.Alternate = GPIO_AF14_LTDC;
  HAL_GPIO_Init(GPIOD, &GPIO_InitStruct);

  /*Configure GPIO pins : G3_Pin B4_Pin */
  GPIO_InitStruct.Pin = G3_Pin|B4_Pin;
  GPIO_InitStruct.Mode = GPIO_MODE_AF_PP;
  GPIO_InitStruct.Pull = GPIO_NOPULL;
  GPIO_InitStruct.Speed = GPIO_SPEED_FREQ_LOW;
  GPIO_InitStruct.Alternate = GPIO_AF9_LTDC;
  HAL_GPIO_Init(GPIOG, &GPIO_InitStruct);

  /*Configure GPIO pins : LD3_Pin LD4_Pin */
  GPIO_InitStruct.Pin = LD3_Pin|LD4_Pin;
  GPIO_InitStruct.Mode = GPIO_MODE_OUTPUT_PP;
  GPIO_InitStruct.Pull = GPIO_NOPULL;
  GPIO_InitStruct.Speed = GPIO_SPEED_FREQ_LOW;
  HAL_GPIO_Init(GPIOG, &GPIO_InitStruct);

  /*Configure GPIO pins : SDCKE1_Pin SDNE1_Pin */
  GPIO_InitStruct.Pin = SDCKE1_Pin|SDNE1_Pin;
  GPIO_InitStruct.Mode = GPIO_MODE_AF_PP;
  GPIO_InitStruct.Pull = GPIO_NOPULL;
  GPIO_InitStruct.Speed = GPIO_SPEED_FREQ_VERY_HIGH;
  GPIO_InitStruct.Alternate = GPIO_AF12_FMC;
  HAL_GPIO_Init(GPIOB, &GPIO_InitStruct);

  /* EXTI interrupt init*/
  HAL_NVIC_SetPriority(EXTI0_IRQn, 0, 0);
  HAL_NVIC_EnableIRQ(EXTI0_IRQn);

}

/* USER CODE BEGIN 4 */
#define BOOTLOADER_FLASH_BASE_ADDR 0x8000000

void jump_to_bootloader(void)
{
	void (*bootloader_reset_handler)(void);

	uint32_t msp_value = *(volatile uint32_t*)(BOOTLOADER_FLASH_BASE_ADDR);

	__set_MSP(msp_value);

	uint32_t reset_handler = *(volatile uint32_t*)(BOOTLOADER_FLASH_BASE_ADDR + 4);

	bootloader_reset_handler = (void *)reset_handler;

	bootloader_reset_handler();
}
/* USER CODE END 4 */

void Error_Handler(void)
{
}

/************************ (C) COPYRIGHT STMicroelectronics *****END OF FILE****/
